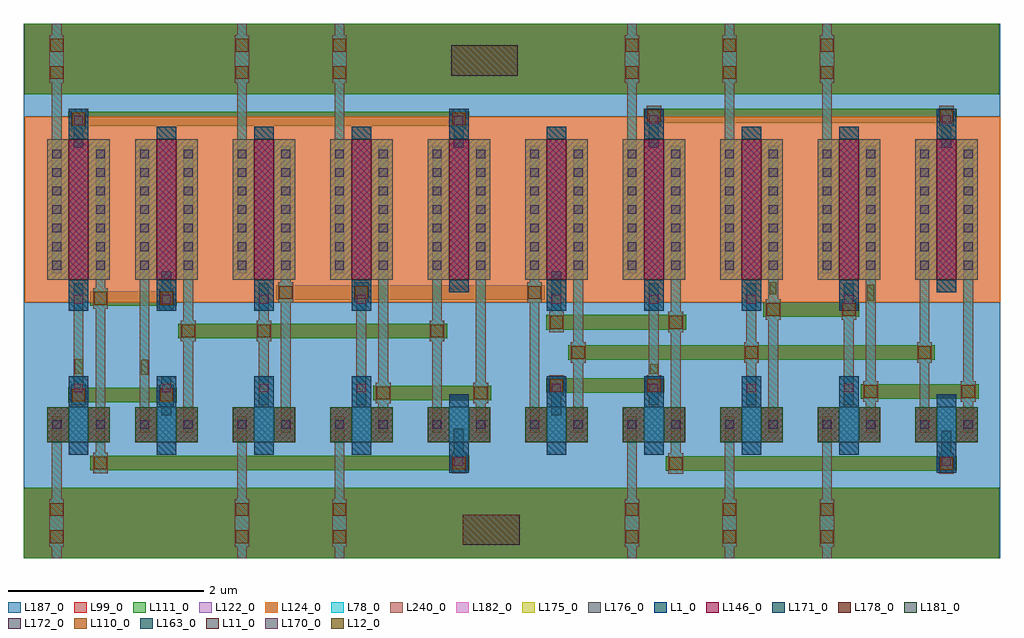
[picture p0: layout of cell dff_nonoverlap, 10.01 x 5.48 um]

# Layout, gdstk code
import gdstk
lib = gdstk.Library(unit=1e-6, precision=1e-09)
def R(c, l, rs):  # rectangles x0, y0, x1, y1
    for r in rs: c.add(gdstk.rectangle(r[:2], r[2:], *l))
def A(c, l, x, y, w, h, nx, ny, dx, dy):  # array of equal rectangles
    R(c, l, [(x+i*dx, y+j*dy, x+i*dx+w, y+j*dy+h) for i in range(nx) for j in range(ny)])
def P(c, l, *ps):  # polygons
    for p in ps: c.add(gdstk.Polygon(p, *l))
L1_0 = (1, 0)
L11_0 = (11, 0)
L12_0 = (12, 0)
L78_0 = (78, 0)
L99_0 = (99, 0)
L110_0 = (110, 0)
L111_0 = (111, 0)
L122_0 = (122, 0)
L124_0 = (124, 0)
L146_0 = (146, 0)
L163_0 = (163, 0)
L170_0 = (170, 0)
L171_0 = (171, 0)
L172_0 = (172, 0)
L175_0 = (175, 0)
L176_0 = (176, 0)
L178_0 = (178, 0)
L181_0 = (181, 0)
L182_0 = (182, 0)
L187_0 = (187, 0)
L240_0 = (240, 0)

dff_nonoverlap = lib.new_cell('dff_nonoverlap')
A(dff_nonoverlap, L1_0, -21.51, 2.725, 0.2, 0.805, 3, 1, 1, 0)
A(dff_nonoverlap, L1_0, -17.51, 2.725, 0.2, 0.805, 4, 1, 1, 0)
A(dff_nonoverlap, L1_0, -21.51, 4.205, 0.2, 1.885, 3, 1, 1, 0)
R(dff_nonoverlap, L1_0, [(-18.51,2.54,-18.31,3.345), (-13.51,2.54,-13.31,3.345), (-22.41,2.725,-22.21,3.53), (-22.41,4.205,-22.21,6.275), (-17.51,4.205,-17.31,6.09), (-16.51,4.205,-16.31,6.275), (-15.51,4.205,-15.31,6.09), (-14.51,4.205,-14.31,6.09), (-18.51,4.39,-18.31,6.275), (-13.51,4.39,-13.31,6.275)])
R(dff_nonoverlap, L11_0, [(-18.37,1.805,-17.785,2.11), (-18.49,6.615,-17.805,6.925)])
R(dff_nonoverlap, L12_0, [(-21.665,3.545,-21.595,3.7), (-22.35,3.555,-22.265,3.705), (-16.445,3.555,-16.37,3.655), (-14.22,4.305,-14.15,4.47), (-15.22,4.37,-15.155,4.495)])
R(dff_nonoverlap, L78_0, [(-21.685,2.95,-21.585,5.895)])
P(dff_nonoverlap, L78_0, [(-22.035,5.895),(-22.035,4.435),(-22.01,4.435),(-22.01,4.225),(-22.035,4.225),(-22.035,2.745),(-22.01,2.745),(-22.01,2.535),(-22.16,2.535),(-22.16,2.745),(-22.135,2.745),(-22.135,4.225),(-22.16,4.225),(-22.16,4.435),(-22.135,4.435),(-22.135,5.895)],
  [(-22.485,3.12),(-22.485,2.27),(-22.46,2.27),(-22.46,1.78),(-22.485,1.78),(-22.485,1.665),(-22.585,1.665),(-22.585,1.78),(-22.61,1.78),(-22.61,2.27),(-22.585,2.27),(-22.585,3.12)],
  [(-22.26,4.485),(-22.26,3.445),(-22.235,3.445),(-22.235,3.235),(-22.385,3.235),(-22.385,3.445),(-22.36,3.445),(-22.36,4.485)],
  [(-22.485,7.145),(-22.485,7.03),(-22.46,7.03),(-22.46,6.54),(-22.485,6.54),(-22.485,4.585),(-22.585,4.585),(-22.585,6.54),(-22.61,6.54),(-22.61,7.03),(-22.585,7.03),(-22.585,7.145)],
  [(-22.235,6.275),(-22.235,6.065),(-22.26,6.065),(-22.26,5.875),(-22.36,5.875),(-22.36,6.065),(-22.385,6.065),(-22.385,6.275)],
  [(-21.135,5.895),(-21.135,4.1),(-21.11,4.1),(-21.11,3.89),(-21.135,3.89),(-21.135,2.95),(-21.235,2.95),(-21.235,3.89),(-21.26,3.89),(-21.26,4.1),(-21.235,4.1),(-21.235,5.895)],
  [(-21.36,3.53),(-21.36,3.445),(-21.335,3.445),(-21.335,3.235),(-21.36,3.235),(-21.36,3.13),(-21.46,3.13),(-21.46,3.235),(-21.485,3.235),(-21.485,3.445),(-21.46,3.445),(-21.46,3.53)],
  [(-21.36,4.605),(-21.36,4.435),(-21.335,4.435),(-21.335,4.225),(-21.36,4.225),(-21.36,4.205),(-21.46,4.205),(-21.46,4.225),(-21.485,4.225),(-21.485,4.435),(-21.46,4.435),(-21.46,4.605)],
  [(-20.36,4.485),(-20.36,4.1),(-20.335,4.1),(-20.335,3.89),(-20.36,3.89),(-20.36,3.235),(-20.46,3.235),(-20.46,3.89),(-20.485,3.89),(-20.485,4.1),(-20.46,4.1),(-20.46,4.485)],
  [(-20.585,3.12),(-20.585,2.27),(-20.56,2.27),(-20.56,1.78),(-20.585,1.78),(-20.585,1.665),(-20.685,1.665),(-20.685,1.78),(-20.71,1.78),(-20.71,2.27),(-20.685,2.27),(-20.685,3.12)],
  [(-20.585,7.145),(-20.585,7.03),(-20.56,7.03),(-20.56,6.54),(-20.585,6.54),(-20.585,4.585),(-20.685,4.585),(-20.685,6.54),(-20.71,6.54),(-20.71,7.03),(-20.685,7.03),(-20.685,7.145)],
  [(-20.135,5.895),(-20.135,4.495),(-20.11,4.495),(-20.11,4.285),(-20.135,4.285),(-20.135,2.95),(-20.235,2.95),(-20.235,4.285),(-20.26,4.285),(-20.26,4.495),(-20.235,4.495),(-20.235,5.895)],
  [(-19.335,4.495),(-19.335,4.285),(-19.36,4.285),(-19.36,3.235),(-19.46,3.235),(-19.46,4.285),(-19.485,4.285),(-19.485,4.495)],
  [(-19.585,3.12),(-19.585,2.27),(-19.56,2.27),(-19.56,1.78),(-19.585,1.78),(-19.585,1.665),(-19.685,1.665),(-19.685,1.78),(-19.71,1.78),(-19.71,2.27),(-19.685,2.27),(-19.685,3.12)],
  [(-19.585,7.145),(-19.585,7.03),(-19.56,7.03),(-19.56,6.54),(-19.585,6.54),(-19.585,4.585),(-19.685,4.585),(-19.685,6.54),(-19.71,6.54),(-19.71,7.03),(-19.685,7.03),(-19.685,7.145)],
  [(-19.135,5.895),(-19.135,3.465),(-19.11,3.465),(-19.11,3.255),(-19.135,3.255),(-19.135,2.95),(-19.235,2.95),(-19.235,3.255),(-19.26,3.255),(-19.26,3.465),(-19.235,3.465),(-19.235,5.895)],
  [(-18.36,2.99),(-18.36,2.745),(-18.335,2.745),(-18.335,2.535),(-18.485,2.535),(-18.485,2.745),(-18.46,2.745),(-18.46,2.99)],
  [(-18.135,5.895),(-18.135,3.465),(-18.11,3.465),(-18.11,3.255),(-18.135,3.255),(-18.135,2.95),(-18.235,2.95),(-18.235,3.255),(-18.26,3.255),(-18.26,3.465),(-18.235,3.465),(-18.235,5.895)],
  [(-18.585,5.895),(-18.585,4.1),(-18.56,4.1),(-18.56,3.89),(-18.585,3.89),(-18.585,2.95),(-18.685,2.95),(-18.685,3.89),(-18.71,3.89),(-18.71,4.1),(-18.685,4.1),(-18.685,5.895)],
  [(-18.335,6.275),(-18.335,6.065),(-18.36,6.065),(-18.36,5.875),(-18.46,5.875),(-18.46,6.065),(-18.485,6.065),(-18.485,6.275)],
  [(-17.36,4.605),(-17.36,4.19),(-17.335,4.19),(-17.335,3.98),(-17.485,3.98),(-17.485,4.19),(-17.46,4.19),(-17.46,4.605)],
  [(-17.135,5.895),(-17.135,3.88),(-17.11,3.88),(-17.11,3.67),(-17.135,3.67),(-17.135,2.95),(-17.235,2.95),(-17.235,3.67),(-17.26,3.67),(-17.26,3.88),(-17.235,3.88),(-17.235,5.895)],
  [(-17.585,5.895),(-17.585,4.495),(-17.56,4.495),(-17.56,4.285),(-17.585,4.285),(-17.585,2.95),(-17.685,2.95),(-17.685,4.285),(-17.71,4.285),(-17.71,4.495),(-17.685,4.495),(-17.685,5.895)],
  [(-17.335,3.54),(-17.335,3.33),(-17.36,3.33),(-17.36,3.13),(-17.46,3.13),(-17.46,3.33),(-17.485,3.33),(-17.485,3.54)],
  [(-16.135,5.895),(-16.135,4.19),(-16.11,4.19),(-16.11,3.98),(-16.135,3.98),(-16.135,2.74),(-16.11,2.74),(-16.11,2.53),(-16.26,2.53),(-16.26,2.74),(-16.235,2.74),(-16.235,3.98),(-16.26,3.98),(-16.26,4.19),(-16.235,4.19),(-16.235,5.895)],
  [(-16.335,6.305),(-16.335,6.095),(-16.36,6.095),(-16.36,5.875),(-16.46,5.875),(-16.46,6.095),(-16.485,6.095),(-16.485,6.305)],
  [(-16.585,3.12),(-16.585,2.27),(-16.56,2.27),(-16.56,1.78),(-16.585,1.78),(-16.585,1.665),(-16.685,1.665),(-16.685,1.78),(-16.71,1.78),(-16.71,2.27),(-16.685,2.27),(-16.685,3.12)],
  [(-16.585,7.145),(-16.585,7.03),(-16.56,7.03),(-16.56,6.54),(-16.585,6.54),(-16.585,4.585),(-16.685,4.585),(-16.685,6.54),(-16.71,6.54),(-16.71,7.03),(-16.685,7.03),(-16.685,7.145)],
  [(-16.36,4.485),(-16.36,3.54),(-16.335,3.54),(-16.335,3.33),(-16.36,3.33),(-16.36,3.235),(-16.46,3.235),(-16.46,3.33),(-16.485,3.33),(-16.485,3.54),(-16.46,3.54),(-16.46,4.485)],
  [(-15.36,4.485),(-15.36,3.88),(-15.335,3.88),(-15.335,3.67),(-15.36,3.67),(-15.36,3.235),(-15.46,3.235),(-15.46,3.67),(-15.485,3.67),(-15.485,3.88),(-15.46,3.88),(-15.46,4.485)],
  [(-15.585,3.12),(-15.585,2.27),(-15.56,2.27),(-15.56,1.78),(-15.585,1.78),(-15.585,1.665),(-15.685,1.665),(-15.685,1.78),(-15.71,1.78),(-15.71,2.27),(-15.685,2.27),(-15.685,3.12)],
  [(-15.585,7.145),(-15.585,7.03),(-15.56,7.03),(-15.56,6.54),(-15.585,6.54),(-15.585,4.585),(-15.685,4.585),(-15.685,6.54),(-15.71,6.54),(-15.71,7.03),(-15.685,7.03),(-15.685,7.145)],
  [(-15.135,5.895),(-15.135,4.32),(-15.11,4.32),(-15.11,4.11),(-15.135,4.11),(-15.135,2.95),(-15.235,2.95),(-15.235,4.11),(-15.26,4.11),(-15.26,4.32),(-15.235,4.32),(-15.235,5.895)],
  [(-14.135,5.895),(-14.135,3.48),(-14.11,3.48),(-14.11,3.27),(-14.135,3.27),(-14.135,2.95),(-14.235,2.95),(-14.235,3.27),(-14.26,3.27),(-14.26,3.48),(-14.235,3.48),(-14.235,5.895)],
  [(-14.585,7.145),(-14.585,7.03),(-14.56,7.03),(-14.56,6.54),(-14.585,6.54),(-14.585,4.585),(-14.685,4.585),(-14.685,6.54),(-14.71,6.54),(-14.71,7.03),(-14.685,7.03),(-14.685,7.145)],
  [(-14.585,3.12),(-14.585,2.27),(-14.56,2.27),(-14.56,1.78),(-14.585,1.78),(-14.585,1.665),(-14.685,1.665),(-14.685,1.78),(-14.71,1.78),(-14.71,2.27),(-14.685,2.27),(-14.685,3.12)],
  [(-14.36,4.485),(-14.36,4.32),(-14.335,4.32),(-14.335,4.11),(-14.36,4.11),(-14.36,3.235),(-14.46,3.235),(-14.46,4.11),(-14.485,4.11),(-14.485,4.32),(-14.46,4.32),(-14.46,4.485)],
  [(-13.585,5.895),(-13.585,3.88),(-13.56,3.88),(-13.56,3.67),(-13.585,3.67),(-13.585,2.95),(-13.685,2.95),(-13.685,3.67),(-13.71,3.67),(-13.71,3.88),(-13.685,3.88),(-13.685,5.895)],
  [(-13.135,5.895),(-13.135,3.48),(-13.11,3.48),(-13.11,3.27),(-13.135,3.27),(-13.135,2.95),(-13.235,2.95),(-13.235,3.27),(-13.26,3.27),(-13.26,3.48),(-13.235,3.48),(-13.235,5.895)],
  [(-13.335,6.305),(-13.335,6.095),(-13.36,6.095),(-13.36,5.875),(-13.46,5.875),(-13.46,6.095),(-13.485,6.095),(-13.485,6.305)],
  [(-13.36,2.97),(-13.36,2.74),(-13.335,2.74),(-13.335,2.53),(-13.485,2.53),(-13.485,2.74),(-13.46,2.74),(-13.46,2.97)])
R(dff_nonoverlap, L99_0, [(-22.87,1.665,-12.87,2.385), (-16.29,2.56,-13.305,2.71), (-22.19,2.565,-18.305,2.715), (-22.415,3.265,-21.305,3.415), (-19.29,3.285,-18.08,3.435), (-14.29,3.3,-13.08,3.45), (-17.515,3.36,-16.305,3.51), (-17.29,3.7,-13.53,3.85), (-21.29,3.92,-18.53,4.07), (-17.515,4.01,-16.08,4.16), (-15.29,4.14,-14.305,4.29), (-22.19,4.255,-21.305,4.405), (-20.29,4.315,-17.53,4.465), (-22.415,6.095,-18.305,6.245), (-16.515,6.125,-13.305,6.275), (-22.865,6.425,-12.87,7.145)])
A(dff_nonoverlap, L110_0, -16.7, 1.82, 0.13, 0.13, 3, 2, 1, 0.28)
A(dff_nonoverlap, L110_0, -17.25, 3.71, 0.13, 0.13, 3, 1, 1.775, 0)
A(dff_nonoverlap, L110_0, -16.7, 6.58, 0.13, 0.13, 3, 2, 1, 0.28)
R(dff_nonoverlap, L110_0, [(-22.6,1.82,-22.47,1.95), (-20.7,1.82,-20.57,1.95), (-19.7,1.82,-19.57,1.95), (-22.6,2.1,-22.47,2.23), (-20.7,2.1,-20.57,2.23), (-19.7,2.1,-19.57,2.23), (-16.25,2.57,-16.12,2.7), (-13.475,2.57,-13.345,2.7), (-22.15,2.575,-22.02,2.705), (-18.475,2.575,-18.345,2.705), (-22.375,3.275,-22.245,3.405), (-21.475,3.275,-21.345,3.405), (-19.25,3.295,-19.12,3.425), (-18.25,3.295,-18.12,3.425), (-14.25,3.31,-14.12,3.44), (-13.25,3.31,-13.12,3.44), (-17.475,3.37,-17.345,3.5), (-16.475,3.37,-16.345,3.5), (-21.25,3.93,-21.12,4.06), (-20.475,3.93,-20.345,4.06), (-18.7,3.93,-18.57,4.06), (-17.475,4.02,-17.345,4.15), (-16.25,4.02,-16.12,4.15), (-15.25,4.15,-15.12,4.28), (-14.475,4.15,-14.345,4.28), (-22.15,4.265,-22.02,4.395), (-21.475,4.265,-21.345,4.395), (-20.25,4.325,-20.12,4.455), (-19.475,4.325,-19.345,4.455), (-17.7,4.325,-17.57,4.455), (-22.375,6.105,-22.245,6.235), (-18.475,6.105,-18.345,6.235), (-16.475,6.135,-16.345,6.265), (-13.475,6.135,-13.345,6.265), (-22.6,6.58,-22.47,6.71), (-20.7,6.58,-20.57,6.71), (-19.7,6.58,-19.57,6.71), (-22.6,6.86,-22.47,6.99), (-20.7,6.86,-20.57,6.99), (-19.7,6.86,-19.57,6.99)])
R(dff_nonoverlap, L111_0, [(-22.87,1.665,-12.87,2.385), (-16.29,2.56,-13.305,2.71), (-22.19,2.565,-18.305,2.715), (-22.415,3.265,-21.305,3.415), (-19.29,3.285,-18.08,3.435), (-14.29,3.3,-13.08,3.45), (-17.515,3.36,-16.305,3.51), (-17.29,3.7,-13.53,3.85), (-21.29,3.92,-18.53,4.07), (-17.515,4.01,-16.08,4.16), (-15.29,4.14,-14.305,4.29), (-22.19,4.255,-21.305,4.405), (-20.29,4.315,-17.53,4.465), (-22.415,6.095,-18.305,6.245), (-16.515,6.125,-13.305,6.275), (-22.865,6.425,-12.87,7.145)])
R(dff_nonoverlap, L122_0, [(-22.86,4.29,-12.86,6.19)])
R(dff_nonoverlap, L124_0, [(-22.86,4.29,-12.86,6.19)])
A(dff_nonoverlap, L146_0, -21.51, 4.52, 0.2, 1.44, 9, 1, 1, 0)
R(dff_nonoverlap, L146_0, [(-22.41,4.52,-22.21,5.96)])
A(dff_nonoverlap, L163_0, -21.51, 2.855, 0.2, 0.36, 9, 1, 1, 0)
R(dff_nonoverlap, L163_0, [(-22.41,2.855,-22.21,3.215)])
A(dff_nonoverlap, L170_0, -21.455, 3.365, 0.09, 0.09, 3, 2, 1, 0.91)
A(dff_nonoverlap, L170_0, -17.455, 3.365, 0.09, 0.09, 4, 2, 1, 0.91)
R(dff_nonoverlap, L170_0, [(-18.455,2.615,-18.365,2.705), (-13.455,2.615,-13.365,2.705), (-22.355,3.365,-22.265,3.455), (-22.355,4.275,-22.265,4.365), (-22.355,6.11,-22.265,6.2), (-18.455,6.11,-18.365,6.2), (-16.455,6.115,-16.365,6.205), (-13.455,6.115,-13.365,6.205)])
A(dff_nonoverlap, L171_0, -21.51, 2.725, 0.2, 0.13, 3, 2, 1, 3.235)
A(dff_nonoverlap, L171_0, -17.51, 2.725, 0.2, 0.13, 4, 1, 1, 0)
A(dff_nonoverlap, L171_0, -21.51, 3.215, 0.2, 0.315, 3, 2, 1, 0.99)
A(dff_nonoverlap, L171_0, -17.51, 3.215, 0.2, 0.315, 4, 2, 1, 0.99)
R(dff_nonoverlap, L171_0, [(-18.51,2.54,-18.31,2.855), (-13.51,2.54,-13.31,2.855), (-22.41,2.725,-22.21,2.855), (-22.41,3.215,-22.21,3.53), (-18.51,3.215,-18.31,3.345), (-13.51,3.215,-13.31,3.345), (-22.41,4.205,-22.21,4.52), (-18.51,4.39,-18.31,4.52), (-13.51,4.39,-13.31,4.52), (-22.41,5.96,-22.21,6.275), (-18.51,5.96,-18.31,6.275), (-17.51,5.96,-17.31,6.09), (-16.51,5.96,-16.31,6.275), (-15.51,5.96,-15.31,6.09), (-14.51,5.96,-14.31,6.09), (-13.51,5.96,-13.31,6.275)])
A(dff_nonoverlap, L172_0, -22.58, 2.99, 0.09, 0.09, 4, 2, 0.45, 1.635)
A(dff_nonoverlap, L172_0, -20.68, 4.625, 0.09, 0.09, 1, 7, 0, 0.19)
A(dff_nonoverlap, L172_0, -20.23, 4.625, 0.09, 0.09, 1, 7, 0, 0.19)
A(dff_nonoverlap, L172_0, -19.68, 4.625, 0.09, 0.09, 1, 7, 0, 0.19)
A(dff_nonoverlap, L172_0, -19.23, 4.625, 0.09, 0.09, 1, 7, 0, 0.19)
A(dff_nonoverlap, L172_0, -18.68, 4.625, 0.09, 0.09, 1, 7, 0, 0.19)
A(dff_nonoverlap, L172_0, -18.23, 4.625, 0.09, 0.09, 1, 7, 0, 0.19)
A(dff_nonoverlap, L172_0, -17.68, 4.625, 0.09, 0.09, 1, 7, 0, 0.19)
A(dff_nonoverlap, L172_0, -17.23, 4.625, 0.09, 0.09, 1, 7, 0, 0.19)
A(dff_nonoverlap, L172_0, -16.68, 4.625, 0.09, 0.09, 1, 7, 0, 0.19)
A(dff_nonoverlap, L172_0, -16.23, 4.625, 0.09, 0.09, 1, 7, 0, 0.19)
A(dff_nonoverlap, L172_0, -15.68, 4.625, 0.09, 0.09, 1, 7, 0, 0.19)
A(dff_nonoverlap, L172_0, -15.23, 4.625, 0.09, 0.09, 1, 7, 0, 0.19)
A(dff_nonoverlap, L172_0, -14.68, 4.625, 0.09, 0.09, 1, 7, 0, 0.19)
A(dff_nonoverlap, L172_0, -14.23, 4.625, 0.09, 0.09, 1, 7, 0, 0.19)
A(dff_nonoverlap, L172_0, -13.68, 4.625, 0.09, 0.09, 1, 7, 0, 0.19)
A(dff_nonoverlap, L172_0, -13.23, 4.625, 0.09, 0.09, 1, 7, 0, 0.19)
A(dff_nonoverlap, L172_0, -22.58, 4.815, 0.09, 0.09, 4, 6, 0.45, 0.19)
R(dff_nonoverlap, L172_0, [(-20.68,2.99,-20.59,3.08), (-20.23,2.99,-20.14,3.08), (-19.68,2.99,-19.59,3.08), (-19.23,2.99,-19.14,3.08), (-18.68,2.99,-18.59,3.08), (-18.23,2.99,-18.14,3.08), (-17.68,2.99,-17.59,3.08), (-17.23,2.99,-17.14,3.08), (-16.68,2.99,-16.59,3.08), (-16.23,2.99,-16.14,3.08), (-15.68,2.99,-15.59,3.08), (-15.23,2.99,-15.14,3.08), (-14.68,2.99,-14.59,3.08), (-14.23,2.99,-14.14,3.08), (-13.68,2.99,-13.59,3.08), (-13.23,2.99,-13.14,3.08)])
R(dff_nonoverlap, L175_0, [(-22.63,4.52,-22.41,5.96), (-22.21,4.52,-21.99,5.96), (-21.73,4.52,-21.51,5.96), (-21.31,4.52,-21.09,5.96), (-20.73,4.52,-20.51,5.96), (-20.31,4.52,-20.09,5.96), (-19.73,4.52,-19.51,5.96), (-19.31,4.52,-19.09,5.96), (-18.73,4.52,-18.51,5.96), (-18.31,4.52,-18.09,5.96), (-17.73,4.52,-17.51,5.96), (-17.31,4.52,-17.09,5.96), (-16.73,4.52,-16.51,5.96), (-16.31,4.52,-16.09,5.96), (-15.73,4.52,-15.51,5.96), (-15.31,4.52,-15.09,5.96), (-14.73,4.52,-14.51,5.96), (-14.31,4.52,-14.09,5.96), (-13.73,4.52,-13.51,5.96), (-13.31,4.52,-13.09,5.96)])
R(dff_nonoverlap, L176_0, [(-22.63,4.52,-22.41,5.96), (-22.21,4.52,-21.99,5.96), (-21.73,4.52,-21.51,5.96), (-21.31,4.52,-21.09,5.96), (-20.73,4.52,-20.51,5.96), (-20.31,4.52,-20.09,5.96), (-19.73,4.52,-19.51,5.96), (-19.31,4.52,-19.09,5.96), (-18.73,4.52,-18.51,5.96), (-18.31,4.52,-18.09,5.96), (-17.73,4.52,-17.51,5.96), (-17.31,4.52,-17.09,5.96), (-16.73,4.52,-16.51,5.96), (-16.31,4.52,-16.09,5.96), (-15.73,4.52,-15.51,5.96), (-15.31,4.52,-15.09,5.96), (-14.73,4.52,-14.51,5.96), (-14.31,4.52,-14.09,5.96), (-13.73,4.52,-13.51,5.96), (-13.31,4.52,-13.09,5.96)])
R(dff_nonoverlap, L178_0, [(-22.63,2.855,-22.41,3.215), (-22.21,2.855,-21.99,3.215), (-21.73,2.855,-21.51,3.215), (-21.31,2.855,-21.09,3.215), (-20.73,2.855,-20.51,3.215), (-20.31,2.855,-20.09,3.215), (-19.73,2.855,-19.51,3.215), (-19.31,2.855,-19.09,3.215), (-18.73,2.855,-18.51,3.215), (-18.31,2.855,-18.09,3.215), (-17.73,2.855,-17.51,3.215), (-17.31,2.855,-17.09,3.215), (-16.73,2.855,-16.51,3.215), (-16.31,2.855,-16.09,3.215), (-15.73,2.855,-15.51,3.215), (-15.31,2.855,-15.09,3.215), (-14.73,2.855,-14.51,3.215), (-14.31,2.855,-14.09,3.215), (-13.73,2.855,-13.51,3.215), (-13.31,2.855,-13.09,3.215)])
R(dff_nonoverlap, L181_0, [(-22.63,2.855,-22.41,3.215), (-22.21,2.855,-21.99,3.215), (-21.73,2.855,-21.51,3.215), (-21.31,2.855,-21.09,3.215), (-20.73,2.855,-20.51,3.215), (-20.31,2.855,-20.09,3.215), (-19.73,2.855,-19.51,3.215), (-19.31,2.855,-19.09,3.215), (-18.73,2.855,-18.51,3.215), (-18.31,2.855,-18.09,3.215), (-17.73,2.855,-17.51,3.215), (-17.31,2.855,-17.09,3.215), (-16.73,2.855,-16.51,3.215), (-16.31,2.855,-16.09,3.215), (-15.73,2.855,-15.51,3.215), (-15.31,2.855,-15.09,3.215), (-14.73,2.855,-14.51,3.215), (-14.31,2.855,-14.09,3.215), (-13.73,2.855,-13.51,3.215), (-13.31,2.855,-13.09,3.215)])
R(dff_nonoverlap, L182_0, [(-22.63,2.855,-22.41,3.215), (-22.21,2.855,-21.99,3.215), (-21.73,2.855,-21.51,3.215), (-21.31,2.855,-21.09,3.215), (-20.73,2.855,-20.51,3.215), (-20.31,2.855,-20.09,3.215), (-19.73,2.855,-19.51,3.215), (-19.31,2.855,-19.09,3.215), (-18.73,2.855,-18.51,3.215), (-18.31,2.855,-18.09,3.215), (-17.73,2.855,-17.51,3.215), (-17.31,2.855,-17.09,3.215), (-16.73,2.855,-16.51,3.215), (-16.31,2.855,-16.09,3.215), (-15.73,2.855,-15.51,3.215), (-15.31,2.855,-15.09,3.215), (-14.73,2.855,-14.51,3.215), (-14.31,2.855,-14.09,3.215), (-13.73,2.855,-13.51,3.215), (-13.31,2.855,-13.09,3.215), (-22.63,4.52,-22.41,5.96), (-22.21,4.52,-21.99,5.96), (-21.73,4.52,-21.51,5.96), (-21.31,4.52,-21.09,5.96), (-20.73,4.52,-20.51,5.96), (-20.31,4.52,-20.09,5.96), (-19.73,4.52,-19.51,5.96), (-19.31,4.52,-19.09,5.96), (-18.73,4.52,-18.51,5.96), (-18.31,4.52,-18.09,5.96), (-17.73,4.52,-17.51,5.96), (-17.31,4.52,-17.09,5.96), (-16.73,4.52,-16.51,5.96), (-16.31,4.52,-16.09,5.96), (-15.73,4.52,-15.51,5.96), (-15.31,4.52,-15.09,5.96), (-14.73,4.52,-14.51,5.96), (-14.31,4.52,-14.09,5.96), (-13.73,4.52,-13.51,5.96), (-13.31,4.52,-13.09,5.96)])
P(dff_nonoverlap, L187_0, [(-12.86,7.145),(-12.86,6.19),(-22.86,6.19),(-22.86,4.29),(-12.86,4.29),(-12.86,1.665),(-22.87,1.665),(-22.87,7.145)])
R(dff_nonoverlap, L240_0, [(-21.685,2.95,-21.585,5.895)])
P(dff_nonoverlap, L240_0, [(-22.035,5.895),(-22.035,4.435),(-22.01,4.435),(-22.01,4.225),(-22.035,4.225),(-22.035,2.745),(-22.01,2.745),(-22.01,2.535),(-22.16,2.535),(-22.16,2.745),(-22.135,2.745),(-22.135,4.225),(-22.16,4.225),(-22.16,4.435),(-22.135,4.435),(-22.135,5.895)],
  [(-22.485,3.12),(-22.485,2.27),(-22.46,2.27),(-22.46,1.78),(-22.485,1.78),(-22.485,1.665),(-22.585,1.665),(-22.585,1.78),(-22.61,1.78),(-22.61,2.27),(-22.585,2.27),(-22.585,3.12)],
  [(-22.26,4.485),(-22.26,3.445),(-22.235,3.445),(-22.235,3.235),(-22.385,3.235),(-22.385,3.445),(-22.36,3.445),(-22.36,4.485)],
  [(-22.485,7.145),(-22.485,7.03),(-22.46,7.03),(-22.46,6.54),(-22.485,6.54),(-22.485,4.585),(-22.585,4.585),(-22.585,6.54),(-22.61,6.54),(-22.61,7.03),(-22.585,7.03),(-22.585,7.145)],
  [(-22.235,6.275),(-22.235,6.065),(-22.26,6.065),(-22.26,5.875),(-22.36,5.875),(-22.36,6.065),(-22.385,6.065),(-22.385,6.275)],
  [(-21.135,5.895),(-21.135,4.1),(-21.11,4.1),(-21.11,3.89),(-21.135,3.89),(-21.135,2.95),(-21.235,2.95),(-21.235,3.89),(-21.26,3.89),(-21.26,4.1),(-21.235,4.1),(-21.235,5.895)],
  [(-21.36,3.53),(-21.36,3.445),(-21.335,3.445),(-21.335,3.235),(-21.36,3.235),(-21.36,3.13),(-21.46,3.13),(-21.46,3.235),(-21.485,3.235),(-21.485,3.445),(-21.46,3.445),(-21.46,3.53)],
  [(-21.36,4.605),(-21.36,4.435),(-21.335,4.435),(-21.335,4.225),(-21.36,4.225),(-21.36,4.205),(-21.46,4.205),(-21.46,4.225),(-21.485,4.225),(-21.485,4.435),(-21.46,4.435),(-21.46,4.605)],
  [(-20.36,4.485),(-20.36,4.1),(-20.335,4.1),(-20.335,3.89),(-20.36,3.89),(-20.36,3.235),(-20.46,3.235),(-20.46,3.89),(-20.485,3.89),(-20.485,4.1),(-20.46,4.1),(-20.46,4.485)],
  [(-20.585,3.12),(-20.585,2.27),(-20.56,2.27),(-20.56,1.78),(-20.585,1.78),(-20.585,1.665),(-20.685,1.665),(-20.685,1.78),(-20.71,1.78),(-20.71,2.27),(-20.685,2.27),(-20.685,3.12)],
  [(-20.585,7.145),(-20.585,7.03),(-20.56,7.03),(-20.56,6.54),(-20.585,6.54),(-20.585,4.585),(-20.685,4.585),(-20.685,6.54),(-20.71,6.54),(-20.71,7.03),(-20.685,7.03),(-20.685,7.145)],
  [(-20.135,5.895),(-20.135,4.495),(-20.11,4.495),(-20.11,4.285),(-20.135,4.285),(-20.135,2.95),(-20.235,2.95),(-20.235,4.285),(-20.26,4.285),(-20.26,4.495),(-20.235,4.495),(-20.235,5.895)],
  [(-19.335,4.495),(-19.335,4.285),(-19.36,4.285),(-19.36,3.235),(-19.46,3.235),(-19.46,4.285),(-19.485,4.285),(-19.485,4.495)],
  [(-19.585,3.12),(-19.585,2.27),(-19.56,2.27),(-19.56,1.78),(-19.585,1.78),(-19.585,1.665),(-19.685,1.665),(-19.685,1.78),(-19.71,1.78),(-19.71,2.27),(-19.685,2.27),(-19.685,3.12)],
  [(-19.585,7.145),(-19.585,7.03),(-19.56,7.03),(-19.56,6.54),(-19.585,6.54),(-19.585,4.585),(-19.685,4.585),(-19.685,6.54),(-19.71,6.54),(-19.71,7.03),(-19.685,7.03),(-19.685,7.145)],
  [(-19.135,5.895),(-19.135,3.465),(-19.11,3.465),(-19.11,3.255),(-19.135,3.255),(-19.135,2.95),(-19.235,2.95),(-19.235,3.255),(-19.26,3.255),(-19.26,3.465),(-19.235,3.465),(-19.235,5.895)],
  [(-18.36,2.99),(-18.36,2.745),(-18.335,2.745),(-18.335,2.535),(-18.485,2.535),(-18.485,2.745),(-18.46,2.745),(-18.46,2.99)],
  [(-18.135,5.895),(-18.135,3.465),(-18.11,3.465),(-18.11,3.255),(-18.135,3.255),(-18.135,2.95),(-18.235,2.95),(-18.235,3.255),(-18.26,3.255),(-18.26,3.465),(-18.235,3.465),(-18.235,5.895)],
  [(-18.585,5.895),(-18.585,4.1),(-18.56,4.1),(-18.56,3.89),(-18.585,3.89),(-18.585,2.95),(-18.685,2.95),(-18.685,3.89),(-18.71,3.89),(-18.71,4.1),(-18.685,4.1),(-18.685,5.895)],
  [(-18.335,6.275),(-18.335,6.065),(-18.36,6.065),(-18.36,5.875),(-18.46,5.875),(-18.46,6.065),(-18.485,6.065),(-18.485,6.275)],
  [(-17.36,4.605),(-17.36,4.19),(-17.335,4.19),(-17.335,3.98),(-17.485,3.98),(-17.485,4.19),(-17.46,4.19),(-17.46,4.605)],
  [(-17.135,5.895),(-17.135,3.88),(-17.11,3.88),(-17.11,3.67),(-17.135,3.67),(-17.135,2.95),(-17.235,2.95),(-17.235,3.67),(-17.26,3.67),(-17.26,3.88),(-17.235,3.88),(-17.235,5.895)],
  [(-17.585,5.895),(-17.585,4.495),(-17.56,4.495),(-17.56,4.285),(-17.585,4.285),(-17.585,2.95),(-17.685,2.95),(-17.685,4.285),(-17.71,4.285),(-17.71,4.495),(-17.685,4.495),(-17.685,5.895)],
  [(-17.335,3.54),(-17.335,3.33),(-17.36,3.33),(-17.36,3.13),(-17.46,3.13),(-17.46,3.33),(-17.485,3.33),(-17.485,3.54)],
  [(-16.135,5.895),(-16.135,4.19),(-16.11,4.19),(-16.11,3.98),(-16.135,3.98),(-16.135,2.74),(-16.11,2.74),(-16.11,2.53),(-16.26,2.53),(-16.26,2.74),(-16.235,2.74),(-16.235,3.98),(-16.26,3.98),(-16.26,4.19),(-16.235,4.19),(-16.235,5.895)],
  [(-16.335,6.305),(-16.335,6.095),(-16.36,6.095),(-16.36,5.875),(-16.46,5.875),(-16.46,6.095),(-16.485,6.095),(-16.485,6.305)],
  [(-16.585,3.12),(-16.585,2.27),(-16.56,2.27),(-16.56,1.78),(-16.585,1.78),(-16.585,1.665),(-16.685,1.665),(-16.685,1.78),(-16.71,1.78),(-16.71,2.27),(-16.685,2.27),(-16.685,3.12)],
  [(-16.585,7.145),(-16.585,7.03),(-16.56,7.03),(-16.56,6.54),(-16.585,6.54),(-16.585,4.585),(-16.685,4.585),(-16.685,6.54),(-16.71,6.54),(-16.71,7.03),(-16.685,7.03),(-16.685,7.145)],
  [(-16.36,4.485),(-16.36,3.54),(-16.335,3.54),(-16.335,3.33),(-16.36,3.33),(-16.36,3.235),(-16.46,3.235),(-16.46,3.33),(-16.485,3.33),(-16.485,3.54),(-16.46,3.54),(-16.46,4.485)],
  [(-15.36,4.485),(-15.36,3.88),(-15.335,3.88),(-15.335,3.67),(-15.36,3.67),(-15.36,3.235),(-15.46,3.235),(-15.46,3.67),(-15.485,3.67),(-15.485,3.88),(-15.46,3.88),(-15.46,4.485)],
  [(-15.585,3.12),(-15.585,2.27),(-15.56,2.27),(-15.56,1.78),(-15.585,1.78),(-15.585,1.665),(-15.685,1.665),(-15.685,1.78),(-15.71,1.78),(-15.71,2.27),(-15.685,2.27),(-15.685,3.12)],
  [(-15.585,7.145),(-15.585,7.03),(-15.56,7.03),(-15.56,6.54),(-15.585,6.54),(-15.585,4.585),(-15.685,4.585),(-15.685,6.54),(-15.71,6.54),(-15.71,7.03),(-15.685,7.03),(-15.685,7.145)],
  [(-15.135,5.895),(-15.135,4.32),(-15.11,4.32),(-15.11,4.11),(-15.135,4.11),(-15.135,2.95),(-15.235,2.95),(-15.235,4.11),(-15.26,4.11),(-15.26,4.32),(-15.235,4.32),(-15.235,5.895)],
  [(-14.135,5.895),(-14.135,3.48),(-14.11,3.48),(-14.11,3.27),(-14.135,3.27),(-14.135,2.95),(-14.235,2.95),(-14.235,3.27),(-14.26,3.27),(-14.26,3.48),(-14.235,3.48),(-14.235,5.895)],
  [(-14.585,7.145),(-14.585,7.03),(-14.56,7.03),(-14.56,6.54),(-14.585,6.54),(-14.585,4.585),(-14.685,4.585),(-14.685,6.54),(-14.71,6.54),(-14.71,7.03),(-14.685,7.03),(-14.685,7.145)],
  [(-14.585,3.12),(-14.585,2.27),(-14.56,2.27),(-14.56,1.78),(-14.585,1.78),(-14.585,1.665),(-14.685,1.665),(-14.685,1.78),(-14.71,1.78),(-14.71,2.27),(-14.685,2.27),(-14.685,3.12)],
  [(-14.36,4.485),(-14.36,4.32),(-14.335,4.32),(-14.335,4.11),(-14.36,4.11),(-14.36,3.235),(-14.46,3.235),(-14.46,4.11),(-14.485,4.11),(-14.485,4.32),(-14.46,4.32),(-14.46,4.485)],
  [(-13.585,5.895),(-13.585,3.88),(-13.56,3.88),(-13.56,3.67),(-13.585,3.67),(-13.585,2.95),(-13.685,2.95),(-13.685,3.67),(-13.71,3.67),(-13.71,3.88),(-13.685,3.88),(-13.685,5.895)],
  [(-13.135,5.895),(-13.135,3.48),(-13.11,3.48),(-13.11,3.27),(-13.135,3.27),(-13.135,2.95),(-13.235,2.95),(-13.235,3.27),(-13.26,3.27),(-13.26,3.48),(-13.235,3.48),(-13.235,5.895)],
  [(-13.335,6.305),(-13.335,6.095),(-13.36,6.095),(-13.36,5.875),(-13.46,5.875),(-13.46,6.095),(-13.485,6.095),(-13.485,6.305)],
  [(-13.36,2.97),(-13.36,2.74),(-13.335,2.74),(-13.335,2.53),(-13.485,2.53),(-13.485,2.74),(-13.46,2.74),(-13.46,2.97)])

lib.write_gds('dff_nonoverlap.gds')
